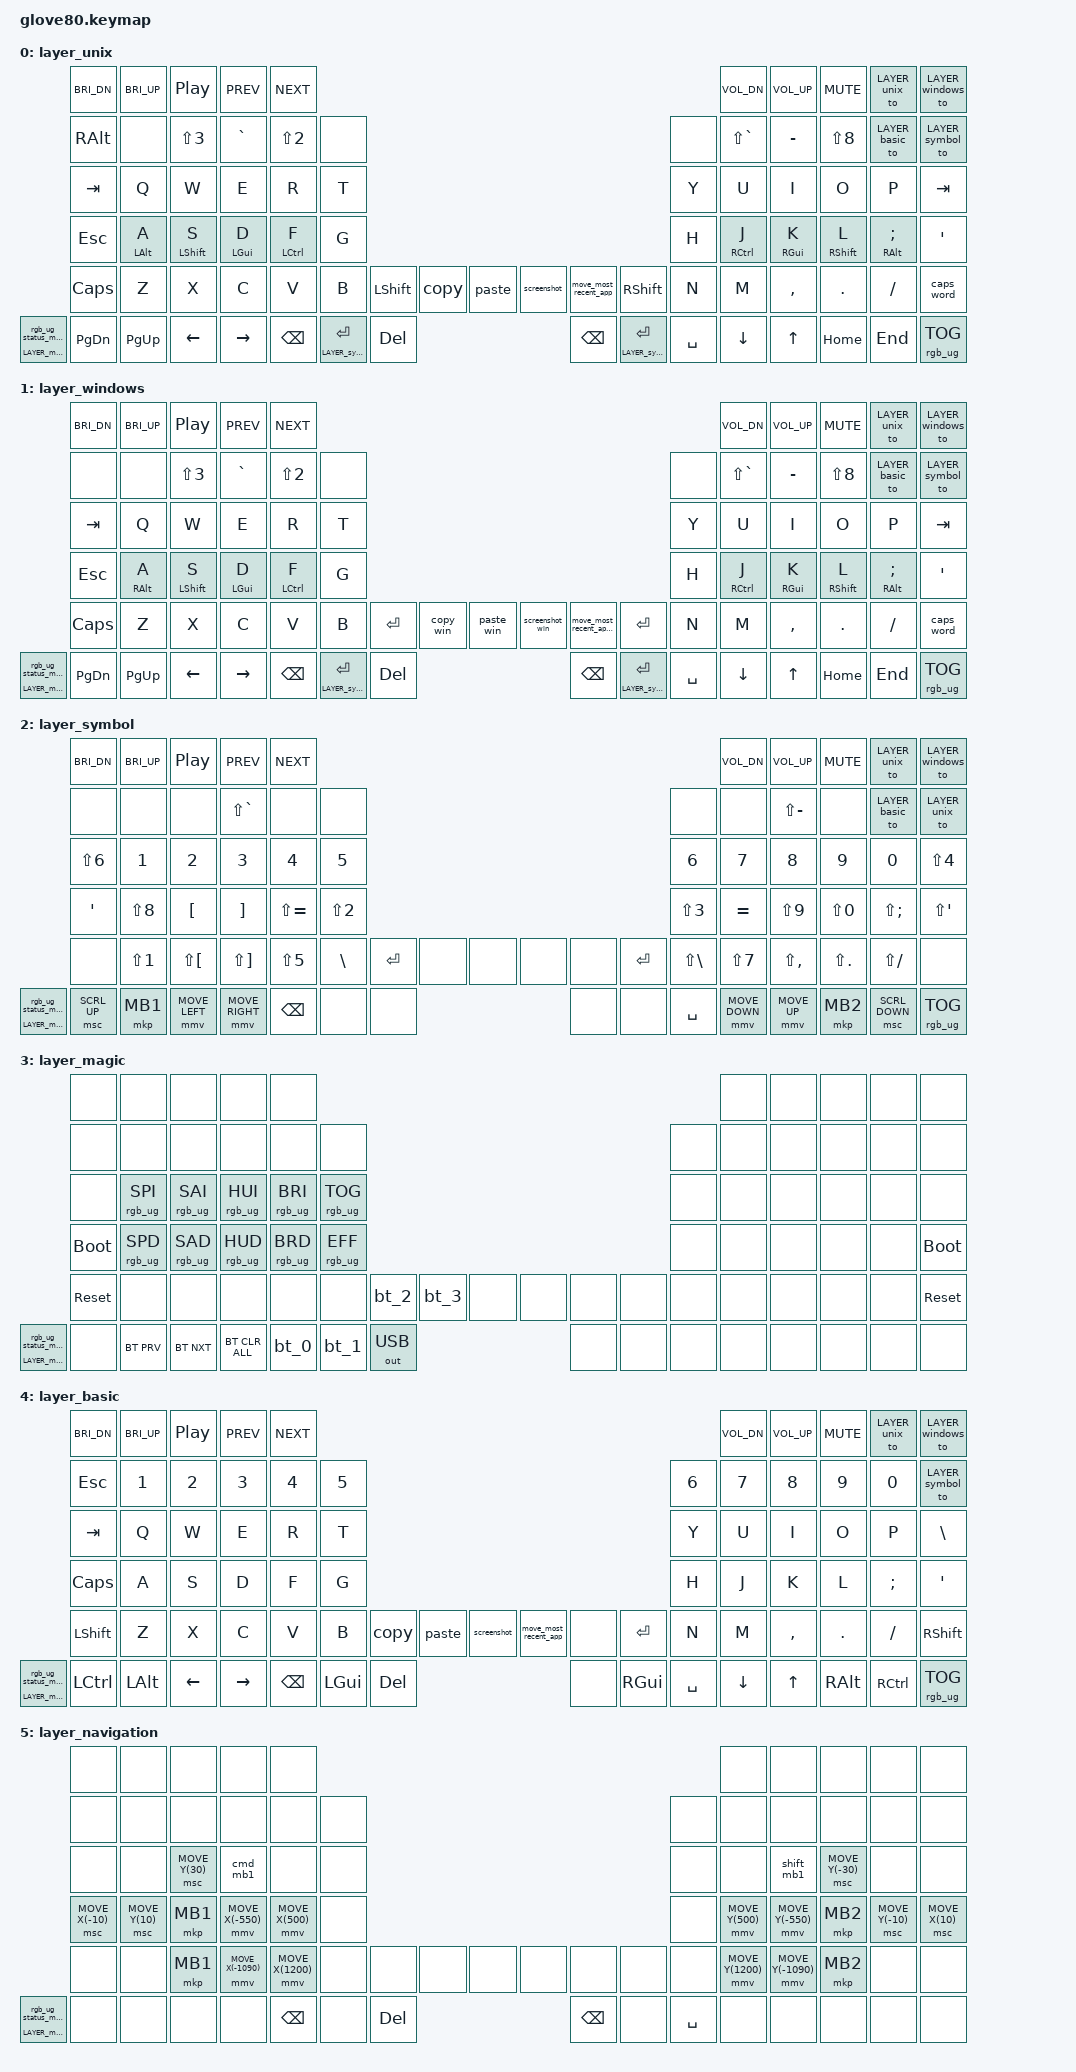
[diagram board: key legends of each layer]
/*
 * Copyright (c) 2020 The ZMK Contributors
 * Copyright (c) 2025 Innaworks Development Limited, trading as MoErgo
 *
 * SPDX-License-Identifier: MIT
 */


/* THIS FILE WAS GENERATED BY GLOVE80 LAYOUT EDITOR
 *
 * This file was generated automatically. You may or may not want to
 * edit it directly.
 */

#include <behaviors.dtsi>
/* Include all behavior includes needed */
#include <dt-bindings/zmk/outputs.h>
#include <dt-bindings/zmk/keys.h>
#include <dt-bindings/zmk/bt.h>
#include <dt-bindings/zmk/rgb.h>

/* On demand includes */
#include <dt-bindings/zmk/pointing.h>

/* Helper Macros, based on https://github.com/urob/zmk-helpers/ */

#pragma once

#define ZMK_HELPER_STRINGIFY(x) #x

// Preprocessor mechanism to overload macros, cf. https://stackoverflow.com/a/27051616/6114651
#define VARGS_(_10, _9, _8, _7, _6, _5, _4, _3, _2, _1, N, ...) N
#define VARGS(...) VARGS_(__VA_ARGS__, 10, 9, 8, 7, 6, 5, 4, 3, 2, 1, 0)
#define CONCAT_(a, b) a##b
#define CONCAT(a, b) CONCAT_(a, b)

#define ZMK_BEHAVIOR_CORE_tap_dance  \
    compatible = "zmk,behavior-tap-dance"; \
    #binding-cells = <0>

#define ZMK_BEHAVIOR(name, type, ...) \
    name: name { \
        ZMK_BEHAVIOR_CORE_ ## type; \
        __VA_ARGS__ \
    };

#define ZMK_TAP_DANCE(name, ...) \
    ZMK_BEHAVIOR(name, tap_dance, __VA_ARGS__)

#define ZMK_TD_LAYER(name, layer) \
    ZMK_TAP_DANCE(name, \
        tapping-term-ms = <200>; \
        bindings = <&mo layer>, <&to layer>; \
)

/* Environment and metadata defines */
#define KB_TYPE_GLOVE_80 1
#define KB_TYPE_GO_60    2

#define KB_TYPE          KB_TYPE_GLOVE_80
#define EDITOR_HOST_OS   'L'

/* Automatically generated layer name defines */
#define LAYER_unix 0
#define LAYER_windows 1
#define LAYER_symbol 2
#define LAYER_magic 3
#define LAYER_basic 4
#define LAYER_navigation 5

/* To deal with the situation where there is no Lower layer, to keep &lower happy */
#ifndef LAYER_Lower
#define LAYER_Lower 0
#endif

/* Custom Device-tree */


/* Input Listeners */


/* System behavior and Macros */
/ {
    behaviors {
        ZMK_TD_LAYER(lower, LAYER_Lower)
    };
};

/ {
    macros {
        rgb_ug_status_macro: rgb_ug_status_macro {
            label = "RGB_UG_STATUS";
            compatible = "zmk,behavior-macro";
            #binding-cells = <0>;
            bindings
                = <&rgb_ug RGB_STATUS>;
        };
    };
};


/ {
#ifdef BT_DISC_CMD
    behaviors {
        bt_0: bt_0 {
            compatible = "zmk,behavior-tap-dance";
            label = "BT_0";
            #binding-cells = <0>;
            tapping-term-ms = <200>;
            bindings = <&bt_select_0>, <&bt BT_DISC 0>;
        };
        bt_1: bt_1 {
            compatible = "zmk,behavior-tap-dance";
            label = "BT_1";
            #binding-cells = <0>;
            tapping-term-ms = <200>;
            bindings = <&bt_select_1>, <&bt BT_DISC 1>;
        };
        bt_2: bt_2 {
            compatible = "zmk,behavior-tap-dance";
            label = "BT_2";
            #binding-cells = <0>;
            tapping-term-ms = <200>;
            bindings = <&bt_select_2>, <&bt BT_DISC 2>;
        };
        bt_3: bt_3 {
            compatible = "zmk,behavior-tap-dance";
            label = "BT_3";
            #binding-cells = <0>;
            tapping-term-ms = <200>;
            bindings = <&bt_select_3>, <&bt BT_DISC 3>;
        };
    };
    macros {
        bt_select_0: bt_select_0 {
            label = "BT_SELECT_0";
            compatible = "zmk,behavior-macro";
            #binding-cells = <0>;
            bindings
                = <&out OUT_BLE>,
                  <&bt BT_SEL 0>;
        };
        bt_select_1: bt_select_1 {
            label = "BT_SELECT_1";
            compatible = "zmk,behavior-macro";
            #binding-cells = <0>;
            bindings
                = <&out OUT_BLE>,
                  <&bt BT_SEL 1>;
        };
        bt_select_2: bt_select_2 {
            label = "BT_SELECT_2";
            compatible = "zmk,behavior-macro";
            #binding-cells = <0>;
            bindings
                = <&out OUT_BLE>,
                  <&bt BT_SEL 2>;
        };
        bt_select_3: bt_select_3 {
            label = "BT_SELECT_3";
            compatible = "zmk,behavior-macro";
            #binding-cells = <0>;
            bindings
                = <&out OUT_BLE>,
                  <&bt BT_SEL 3>;
        };
    };
#else
    macros {
        bt_0: bt_0 {
            label = "BT_0";
            compatible = "zmk,behavior-macro";
            #binding-cells = <0>;
            bindings
                = <&out OUT_BLE>,
                  <&bt BT_SEL 0>;
        };
        bt_1: bt_1 {
            label = "BT_1";
            compatible = "zmk,behavior-macro";
            #binding-cells = <0>;
            bindings
                = <&out OUT_BLE>,
                  <&bt BT_SEL 1>;
        };
        bt_2: bt_2 {
            label = "BT_2";
            compatible = "zmk,behavior-macro";
            #binding-cells = <0>;
            bindings
                = <&out OUT_BLE>,
                  <&bt BT_SEL 2>;
        };
        bt_3: bt_3 {
            label = "BT_3";
            compatible = "zmk,behavior-macro";
            #binding-cells = <0>;
            bindings
                = <&out OUT_BLE>,
                  <&bt BT_SEL 3>;
        };
    };
#endif
};

/ {
    behaviors {
        magic: magic {
            compatible = "zmk,behavior-hold-tap";
            label = "MAGIC_HOLD_TAP";
            #binding-cells = <2>;
            flavor = "tap-preferred";
            tapping-term-ms = <200>;
            bindings = <&mo>, <&rgb_ug_status_macro>;
        };
    };
};


/* Key positions */

#define POS_LH_C6R1 0
#define POS_LH_C5R1 1
#define POS_LH_C4R1 2
#define POS_LH_C3R1 3
#define POS_LH_C2R1 4
#define POS_RH_C2R1 5
#define POS_RH_C3R1 6
#define POS_RH_C4R1 7
#define POS_RH_C5R1 8
#define POS_RH_C6R1 9
#define POS_LH_C6R2 10
#define POS_LH_C5R2 11
#define POS_LH_C4R2 12
#define POS_LH_C3R2 13
#define POS_LH_C2R2 14
#define POS_LH_C1R2 15
#define POS_RH_C1R2 16
#define POS_RH_C2R2 17
#define POS_RH_C3R2 18
#define POS_RH_C4R2 19
#define POS_RH_C5R2 20
#define POS_RH_C6R2 21
#define POS_LH_C6R3 22
#define POS_LH_C5R3 23
#define POS_LH_C4R3 24
#define POS_LH_C3R3 25
#define POS_LH_C2R3 26
#define POS_LH_C1R3 27
#define POS_RH_C1R3 28
#define POS_RH_C2R3 29
#define POS_RH_C3R3 30
#define POS_RH_C4R3 31
#define POS_RH_C5R3 32
#define POS_RH_C6R3 33
#define POS_LH_C6R4 34
#define POS_LH_C5R4 35
#define POS_LH_C4R4 36
#define POS_LH_C3R4 37
#define POS_LH_C2R4 38
#define POS_LH_C1R4 39
#define POS_RH_C1R4 40
#define POS_RH_C2R4 41
#define POS_RH_C3R4 42
#define POS_RH_C4R4 43
#define POS_RH_C5R4 44
#define POS_RH_C6R4 45
#define POS_LH_C6R5 46
#define POS_LH_C5R5 47
#define POS_LH_C4R5 48
#define POS_LH_C3R5 49
#define POS_LH_C2R5 50
#define POS_LH_C1R5 51
#define POS_LH_T1 52
#define POS_LH_T2 53
#define POS_LH_T3 54
#define POS_RH_T3 55
#define POS_RH_T2 56
#define POS_RH_T1 57
#define POS_RH_C1R5 58
#define POS_RH_C2R5 59
#define POS_RH_C3R5 60
#define POS_RH_C4R5 61
#define POS_RH_C5R5 62
#define POS_RH_C6R5 63
#define POS_LH_C6R6 64
#define POS_LH_C5R6 65
#define POS_LH_C4R6 66
#define POS_LH_C3R6 67
#define POS_LH_C2R6 68
#define POS_LH_T4 69
#define POS_LH_T5 70
#define POS_LH_T6 71
#define POS_RH_T6 72
#define POS_RH_T5 73
#define POS_RH_T4 74
#define POS_RH_C2R6 75
#define POS_RH_C3R6 76
#define POS_RH_C4R6 77
#define POS_RH_C5R6 78
#define POS_RH_C6R6 79


/* Custom Defined Behaviors */
/ {

};

/* Generated input processors */


/* Automatically generated macro definitions */
/ {
    macros {

        delete_word: delete_word {
            label = "&DELETE_WORD";
            compatible = "zmk,behavior-macro";
            #binding-cells = <0>;
            tap-ms = <40>;
            wait-ms = <40>;
            bindings = <&macro_press>
                , <&kp LALT>
                , <&macro_tap>
                , <&kp BSPC>
                , <&macro_release>
                , <&kp LALT>;
        };

        screenshot: screenshot {
            label = "&SCREENSHOT";
            compatible = "zmk,behavior-macro";
            #binding-cells = <0>;
            tap-ms = <40>;
            wait-ms = <40>;
            bindings = <&macro_press>
                , <&kp LGUI>
                , <&kp LSHFT>
                , <&macro_tap>
                , <&kp N5>
                , <&macro_release>
                , <&kp LGUI>
                , <&kp LSHFT>;
        };

        move_most_recent_app: move_most_recent_app {
            label = "&MOVE_MOST_RECENT_APP";
            compatible = "zmk,behavior-macro";
            #binding-cells = <0>;
            tap-ms = <40>;
            wait-ms = <40>;
            bindings = <&macro_press>
                , <&kp LGUI>
                , <&macro_tap>
                , <&kp TAB>
                , <&macro_release>
                , <&kp LGUI>;
        };

        copy: copy {
            label = "&COPY";
            compatible = "zmk,behavior-macro";
            #binding-cells = <0>;
            tap-ms = <40>;
            wait-ms = <40>;
            bindings = <&macro_press>
                , <&kp LGUI>
                , <&macro_tap>
                , <&kp C>
                , <&macro_release>
                , <&kp LGUI>;
        };

        paste: paste {
            label = "&PASTE";
            compatible = "zmk,behavior-macro";
            #binding-cells = <0>;
            tap-ms = <40>;
            wait-ms = <40>;
            bindings = <&macro_press>
                , <&kp LGUI>
                , <&macro_tap>
                , <&kp V>
                , <&macro_release>
                , <&kp LGUI>;
        };

        copy_win: copy_win {
            label = "&COPY_WIN";
            compatible = "zmk,behavior-macro";
            #binding-cells = <0>;
            tap-ms = <40>;
            wait-ms = <40>;
            bindings = <&macro_press>
                , <&kp LCTRL>
                , <&macro_tap>
                , <&kp C>
                , <&macro_release>
                , <&kp LCTRL>;
        };

        paste_win: paste_win {
            label = "&PASTE_WIN";
            compatible = "zmk,behavior-macro";
            #binding-cells = <0>;
            tap-ms = <40>;
            wait-ms = <40>;
            bindings = <&macro_press>
                , <&kp LCTRL>
                , <&macro_tap>
                , <&kp V>
                , <&macro_release>
                , <&kp LCTRL>;
        };

        screenshot_win: screenshot_win {
            label = "&SCREENSHOT_WIN";
            compatible = "zmk,behavior-macro";
            #binding-cells = <0>;
            tap-ms = <40>;
            wait-ms = <40>;
            bindings = <&macro_press>
                , <&kp LGUI>
                , <&kp LSHFT>
                , <&macro_tap>
                , <&kp S>
                , <&macro_release>
                , <&kp LGUI>
                , <&kp LSHFT>;
        };

        move_most_recent_app_win: move_most_recent_app_win {
            label = "&MOVE_MOST_RECENT_APP_WIN";
            compatible = "zmk,behavior-macro";
            #binding-cells = <0>;
            tap-ms = <40>;
            wait-ms = <40>;
            bindings = <&macro_press>
                , <&kp LALT>
                , <&macro_tap>
                , <&kp TAB>
                , <&macro_release>
                , <&kp LALT>;
        };

        cmd_mb1: cmd_mb1 {
            label = "&CMD_MB1";
            compatible = "zmk,behavior-macro";
            #binding-cells = <0>;
            tap-ms = <40>;
            wait-ms = <40>;
            bindings = <&macro_press>
                , <&kp LGUI>
                , <&macro_tap>
                , <&mkp MB1>
                , <&macro_release>
                , <&kp LGUI>;
        };

        shift_mb1: shift_mb1 {
            label = "&SHIFT_MB1";
            compatible = "zmk,behavior-macro";
            #binding-cells = <0>;
            tap-ms = <40>;
            wait-ms = <40>;
            bindings = <&macro_press>
                , <&kp LSHFT>
                , <&macro_tap>
                , <&mkp MB1>
                , <&macro_release>
                , <&kp LSHFT>;
        };
    };
};

/* Automatically generated behavior definitions */
/ {
    behaviors {


        HRM_left_middle: HRM_left_middle {
            compatible = "zmk,behavior-hold-tap";
            #binding-cells = <2>;
            tapping-term-ms = <200>;
            bindings = <&kp>, <&kp>;
            flavor = "tap-preferred";
            quick-tap-ms = <300>;
            require-prior-idle-ms = <130>;
            hold-trigger-key-positions = <POS_RH_T1 POS_RH_T4 POS_LH_C2R4 POS_LH_C3R4 POS_LH_C4R4 POS_RH_C2R6 POS_RH_C6R3 POS_RH_C6R4 POS_RH_C3R6 POS_LH_C6R3 POS_LH_C6R4 POS_LH_T1 POS_LH_C3R6 POS_LH_C2R6>;
        };

        HRM_right_middle: HRM_right_middle {
            compatible = "zmk,behavior-hold-tap";
            #binding-cells = <2>;
            tapping-term-ms = <200>;
            bindings = <&kp>, <&kp>;
            flavor = "tap-preferred";
            quick-tap-ms = <300>;
            require-prior-idle-ms = <130>;
            hold-trigger-key-positions = <POS_RH_C2R4 POS_RH_C3R4 POS_RH_C4R4 POS_RH_C5R4 POS_LH_T1 POS_LH_C2R5 POS_LH_C3R5 POS_LH_C6R3 POS_LH_C6R4 POS_LH_C3R6 POS_LH_C2R6 POS_RH_T1 POS_RH_T4 POS_RH_C6R3 POS_RH_C6R4>;
        };

        HRM_left_index: HRM_left_index {
            compatible = "zmk,behavior-hold-tap";
            #binding-cells = <2>;
            tapping-term-ms = <200>;
            bindings = <&kp>, <&kp>;
            flavor = "balanced";
            quick-tap-ms = <300>;
            require-prior-idle-ms = <130>;
            hold-trigger-key-positions = <POS_LH_C3R4 POS_LH_C2R4 POS_LH_C4R4 POS_RH_C6R4 POS_RH_T1 POS_RH_C2R6 POS_RH_C3R6 POS_RH_C6R3 POS_LH_T1 POS_LH_C3R6 POS_LH_C2R6>;
        };

        HRM_right_ring: HRM_right_ring {
            compatible = "zmk,behavior-hold-tap";
            #binding-cells = <2>;
            tapping-term-ms = <200>;
            bindings = <&kp>, <&kp>;
            flavor = "balanced";
            quick-tap-ms = <300>;
            require-prior-idle-ms = <130>;
            hold-trigger-key-positions = <POS_RH_C2R4 POS_RH_C3R4 POS_RH_C4R4 POS_RH_C5R4 POS_LH_C3R6 POS_LH_C2R6 POS_LH_C6R3 POS_LH_C6R4 POS_LH_T1 POS_RH_T1 POS_RH_T4 POS_RH_C3R6 POS_RH_C2R6>;
        };

        HRM_left_pinky: HRM_left_pinky {
            compatible = "zmk,behavior-hold-tap";
            #binding-cells = <2>;
            tapping-term-ms = <230>;
            bindings = <&kp>, <&kp>;
            flavor = "tap-preferred";
            quick-tap-ms = <330>;
            require-prior-idle-ms = <150>;
            hold-trigger-key-positions = <POS_RH_T1 POS_RH_T4 POS_RH_C2R6 POS_RH_C3R6 POS_LH_T1 POS_RH_C4R5 POS_RH_C3R5 POS_RH_C5R4 POS_LH_C5R4>;
        };

        HRM_right_pinky: HRM_right_pinky {
            compatible = "zmk,behavior-hold-tap";
            #binding-cells = <2>;
            tapping-term-ms = <230>;
            bindings = <&kp>, <&kp>;
            flavor = "tap-preferred";
            quick-tap-ms = <330>;
            require-prior-idle-ms = <150>;
            hold-trigger-key-positions = <POS_RH_C2R4 POS_RH_C4R4 POS_RH_C3R4 POS_RH_C5R4 POS_LH_C4R4 POS_LH_C5R3 POS_LH_C5R4 POS_LH_C5R5 POS_LH_C1R3 POS_LH_C2R3 POS_LH_C3R3 POS_LH_C4R3 POS_LH_C3R4 POS_LH_C2R4 POS_LH_C1R4 POS_LH_C1R5 POS_LH_C2R5 POS_LH_C3R5 POS_LH_C4R5 POS_LH_C3R6 POS_LH_C2R6 POS_LH_T1 POS_RH_T1 POS_RH_T4 POS_RH_C3R6 POS_RH_C2R6>;
        };

        HRM_left_ring: HRM_left_ring {
            compatible = "zmk,behavior-hold-tap";
            #binding-cells = <2>;
            tapping-term-ms = <200>;
            bindings = <&kp>, <&kp>;
            flavor = "tap-preferred";
            quick-tap-ms = <300>;
            require-prior-idle-ms = <130>;
            hold-trigger-key-positions = <POS_RH_T1 POS_RH_T4 POS_LH_C2R4 POS_LH_C3R4 POS_LH_C4R4 POS_RH_C2R6 POS_RH_C3R6 POS_LH_T1 POS_LH_C2R6 POS_LH_C3R6>;
        };

        HRM_right_index: HRM_right_index {
            compatible = "zmk,behavior-hold-tap";
            #binding-cells = <2>;
            tapping-term-ms = <200>;
            bindings = <&kp>, <&kp>;
            flavor = "tap-preferred";
            quick-tap-ms = <300>;
            require-prior-idle-ms = <130>;
            hold-trigger-key-positions = <POS_RH_C2R4 POS_RH_C3R4 POS_RH_C4R4 POS_RH_C5R4 POS_LH_T1 POS_LH_C3R6 POS_LH_C2R6 POS_LH_C3R5 POS_LH_C2R5 POS_LH_C6R3 POS_LH_C6R4 POS_RH_C3R6 POS_RH_C2R6 POS_RH_T1 POS_RH_T4 POS_RH_C6R3 POS_RH_C6R4>;
        };

        MO_KP: MO_KP {
            compatible = "zmk,behavior-hold-tap";
            #binding-cells = <2>;
            tapping-term-ms = <200>;
            bindings = <&mo>, <&kp>;
            flavor = "balanced";
            quick-tap-ms = <300>;
            require-prior-idle-ms = <130>;
        };
    };
};

/* Automatically generated combos definitions */
/ {
    combos {
        compatible = "zmk,combos";

        // separate words with _ instead of blank space.
        combo_underscore {
            timeout-ms = <81>;
            key-positions = <POS_LH_T4 POS_RH_T4>;
            bindings = <&kp LS(MINUS)>;
        };

        navigation_combo {
            timeout-ms = <2000>;
            key-positions = <POS_LH_T5 POS_RH_T5>;
            bindings = <&mo LAYER_navigation>;
        };
    };
};

/* Automatically generated keymap */
/ {
    keymap {
        compatible = "zmk,keymap";


        layer_unix {
            bindings = <
         &kp C_BRI_DN            &kp C_BRI_UP                &kp C_PP               &kp C_PREV               &kp C_NEXT                                                                                                                            &kp C_VOL_DN              &kp C_VOL_UP               &kp C_MUTE              &to LAYER_unix  &to LAYER_windows
                &kp RALT                   &none              &kp LS(N3)                &kp GRAVE               &kp LS(N2)   &none                                                                                                 &none             &kp LS(GRAVE)                 &kp MINUS               &kp LS(N8)             &to LAYER_basic    &to LAYER_symbol
              &kp TAB                   &kp Q                   &kp W                    &kp E                    &kp R   &kp T                                                                                                 &kp Y                     &kp U                     &kp I                    &kp O                       &kp P             &kp TAB
              &kp ESC  &HRM_left_pinky LALT A  &HRM_left_ring LSHFT S  &HRM_left_middle LGUI D  &HRM_left_index LCTRL F   &kp G                                                                                                 &kp H  &HRM_right_index RCTRL J  &HRM_right_middle RGUI K  &HRM_right_ring RSHFT L  &HRM_right_pinky RALT SEMI             &kp SQT
             &kp CAPS                   &kp Z                   &kp X                    &kp C                    &kp V   &kp B  &kp LSHFT                    &copy   &paste  &screenshot    &move_most_recent_app  &kp RSHFT   &kp N                     &kp M                 &kp COMMA                  &kp DOT                    &kp FSLH          &caps_word
 &magic LAYER_magic 0               &kp PG_DN               &kp PG_UP                 &kp LEFT                &kp RIGHT           &kp BSPC  &MO_KP LAYER_symbol RET  &kp DEL     &kp BSPC  &MO_KP LAYER_symbol RET  &kp SPACE                          &kp DOWN                    &kp UP                 &kp HOME                     &kp END     &rgb_ug RGB_TOG
            >;
        };

        layer_windows {
            bindings = <
         &kp C_BRI_DN            &kp C_BRI_UP                &kp C_PP               &kp C_PREV               &kp C_NEXT                                                                                                                                    &kp C_VOL_DN              &kp C_VOL_UP               &kp C_MUTE              &to LAYER_unix  &to LAYER_windows
                &none                   &none              &kp LS(N3)                &kp GRAVE               &kp LS(N2)   &none                                                                                                         &none             &kp LS(GRAVE)                 &kp MINUS               &kp LS(N8)             &to LAYER_basic    &to LAYER_symbol
              &kp TAB                   &kp Q                   &kp W                    &kp E                    &kp R   &kp T                                                                                                         &kp Y                     &kp U                     &kp I                    &kp O                       &kp P             &kp TAB
              &kp ESC  &HRM_left_pinky RALT A  &HRM_left_ring LSHFT S  &HRM_left_middle LGUI D  &HRM_left_index LCTRL F   &kp G                                                                                                         &kp H  &HRM_right_index RCTRL J  &HRM_right_middle RGUI K  &HRM_right_ring RSHFT L  &HRM_right_pinky RALT SEMI             &kp SQT
             &kp CAPS                   &kp Z                   &kp X                    &kp C                    &kp V   &kp B   &kp RET                &copy_win  &paste_win  &screenshot_win  &move_most_recent_app_win    &kp RET   &kp N                     &kp M                 &kp COMMA                  &kp DOT                    &kp FSLH          &caps_word
 &magic LAYER_magic 0               &kp PG_DN               &kp PG_UP                 &kp LEFT                &kp RIGHT          &kp BSPC  &MO_KP LAYER_symbol RET     &kp DEL         &kp BSPC    &MO_KP LAYER_symbol RET  &kp SPACE                          &kp DOWN                    &kp UP                 &kp HOME                     &kp END     &rgb_ug RGB_TOG
            >;
        };

        layer_symbol {
            bindings = <
         &kp C_BRI_DN  &kp C_BRI_UP      &kp C_PP      &kp C_PREV       &kp C_NEXT                                                                                   &kp C_VOL_DN   &kp C_VOL_UP   &kp C_MUTE   &to LAYER_unix    &to LAYER_windows
                &none         &none         &none   &kp LS(GRAVE)            &none       &none                                                              &none           &none  &kp LS(MINUS)        &none  &to LAYER_basic        &to LAYER_unix
           &kp LS(N6)        &kp N1        &kp N2          &kp N3           &kp N4      &kp N5                                                             &kp N6          &kp N7         &kp N8       &kp N9           &kp N0            &kp LS(N4)
              &kp SQT    &kp LS(N8)      &kp LBKT        &kp RBKT    &kp LS(EQUAL)  &kp LS(N2)                                                         &kp LS(N3)       &kp EQUAL     &kp LS(N9)   &kp LS(N0)     &kp LS(SEMI)  &kp LS(SINGLE_QUOTE)
                &none    &kp LS(N1)  &kp LS(LBKT)    &kp LS(RBKT)       &kp LS(N5)    &kp BSLH   &kp RET   &none   &none   &none   &none    &kp RET  &kp LS(BSLH)      &kp LS(N7)  &kp LS(COMMA)  &kp LS(DOT)     &kp LS(FSLH)                 &none
 &magic LAYER_magic 0  &msc SCRL_UP      &mkp MB1  &mmv MOVE_LEFT  &mmv MOVE_RIGHT              &kp BSPC   &none   &none   &none   &none  &kp SPACE                &mmv MOVE_DOWN   &mmv MOVE_UP     &mkp MB2   &msc SCRL_DOWN       &rgb_ug RGB_TOG
            >;
        };

        layer_magic {
            bindings = <
                &none            &none            &none            &none            &none                                                                                  &none   &none   &none   &none        &none
                &none            &none            &none            &none            &none            &none                                                         &none   &none   &none   &none   &none        &none
                &none  &rgb_ug RGB_SPI  &rgb_ug RGB_SAI  &rgb_ug RGB_HUI  &rgb_ug RGB_BRI  &rgb_ug RGB_TOG                                                         &none   &none   &none   &none   &none        &none
          &bootloader  &rgb_ug RGB_SPD  &rgb_ug RGB_SAD  &rgb_ug RGB_HUD  &rgb_ug RGB_BRD  &rgb_ug RGB_EFF                                                         &none   &none   &none   &none   &none  &bootloader
           &sys_reset            &none            &none            &none            &none            &none   &bt_2   &bt_3         &none   &none   &none   &none   &none   &none   &none   &none   &none   &sys_reset
 &magic LAYER_magic 0            &none       &bt BT_PRV       &bt BT_NXT   &bt BT_CLR_ALL                    &bt_0   &bt_1  &out OUT_USB   &none   &none   &none           &none   &none   &none   &none        &none
            >;
        };

        layer_basic {
            bindings = <
         &kp C_BRI_DN  &kp C_BRI_UP  &kp C_PP  &kp C_PREV  &kp C_NEXT                                                                                               &kp C_VOL_DN  &kp C_VOL_UP  &kp K_MUTE  &to LAYER_unix  &to LAYER_windows
              &kp ESC        &kp N1    &kp N2      &kp N3      &kp N4  &kp N5                                                                               &kp N6        &kp N7        &kp N8      &kp N9          &kp N0    &to LAYER_symbol
              &kp TAB         &kp Q     &kp W       &kp E       &kp R   &kp T                                                                                &kp Y         &kp U         &kp I       &kp O           &kp P            &kp BSLH
             &kp CAPS         &kp A     &kp S       &kp D       &kp F   &kp G                                                                                &kp H         &kp J         &kp K       &kp L        &kp SEMI             &kp SQT
            &kp LSHFT         &kp Z     &kp X       &kp C       &kp V   &kp B     &copy    &paste  &screenshot  &move_most_recent_app     &none    &kp RET   &kp N         &kp M     &kp COMMA     &kp DOT        &kp FSLH           &kp RSHFT
 &magic LAYER_magic 0     &kp LCTRL  &kp LALT    &kp LEFT   &kp RIGHT          &kp BSPC  &kp LGUI      &kp DEL                  &none  &kp RGUI  &kp SPACE              &kp DOWN        &kp UP    &kp RALT       &kp RCTRL     &rgb_ug RGB_TOG
            >;
        };

        layer_navigation {
            bindings = <
                &none            &none            &none            &none            &none                                                                                  &none   &none   &none   &none        &none
                &none            &none            &none            &none            &none            &none                                                         &none   &none   &none   &none   &none        &none
                &none            &none            &msc MOVE_Y(30)            &cmd_mb1            &none            &none                                                         &none   &none   &shift_mb1   &msc MOVE_Y(-30)   &none        &none
                &msc MOVE_X(-10)  &msc MOVE_Y(10)  &mkp MB1  &mmv MOVE_X(-550)  &mmv MOVE_X(500)  &none                                                         &none   &mmv MOVE_Y(500)   &mmv MOVE_Y(-550)   &mkp MB2   &msc MOVE_Y(-10)        &msc MOVE_X(10)
          &none  &none  &mkp MB1  &mmv MOVE_X(-1090)  &mmv MOVE_X(1200)  &none   &none   &none   &none                  &none   &none   &none   &none  &mmv MOVE_Y(1200)   &mmv MOVE_Y(-1090)  &mkp MB2   &none  &none
 &magic LAYER_magic 0            &none            &none            &none            &none                    &kp BSPC  &none  &kp DEL   &kp BSPC  &none  &kp SPACE                                        &none            &none               &none            &none              &none
            >;
        };

    };
};
